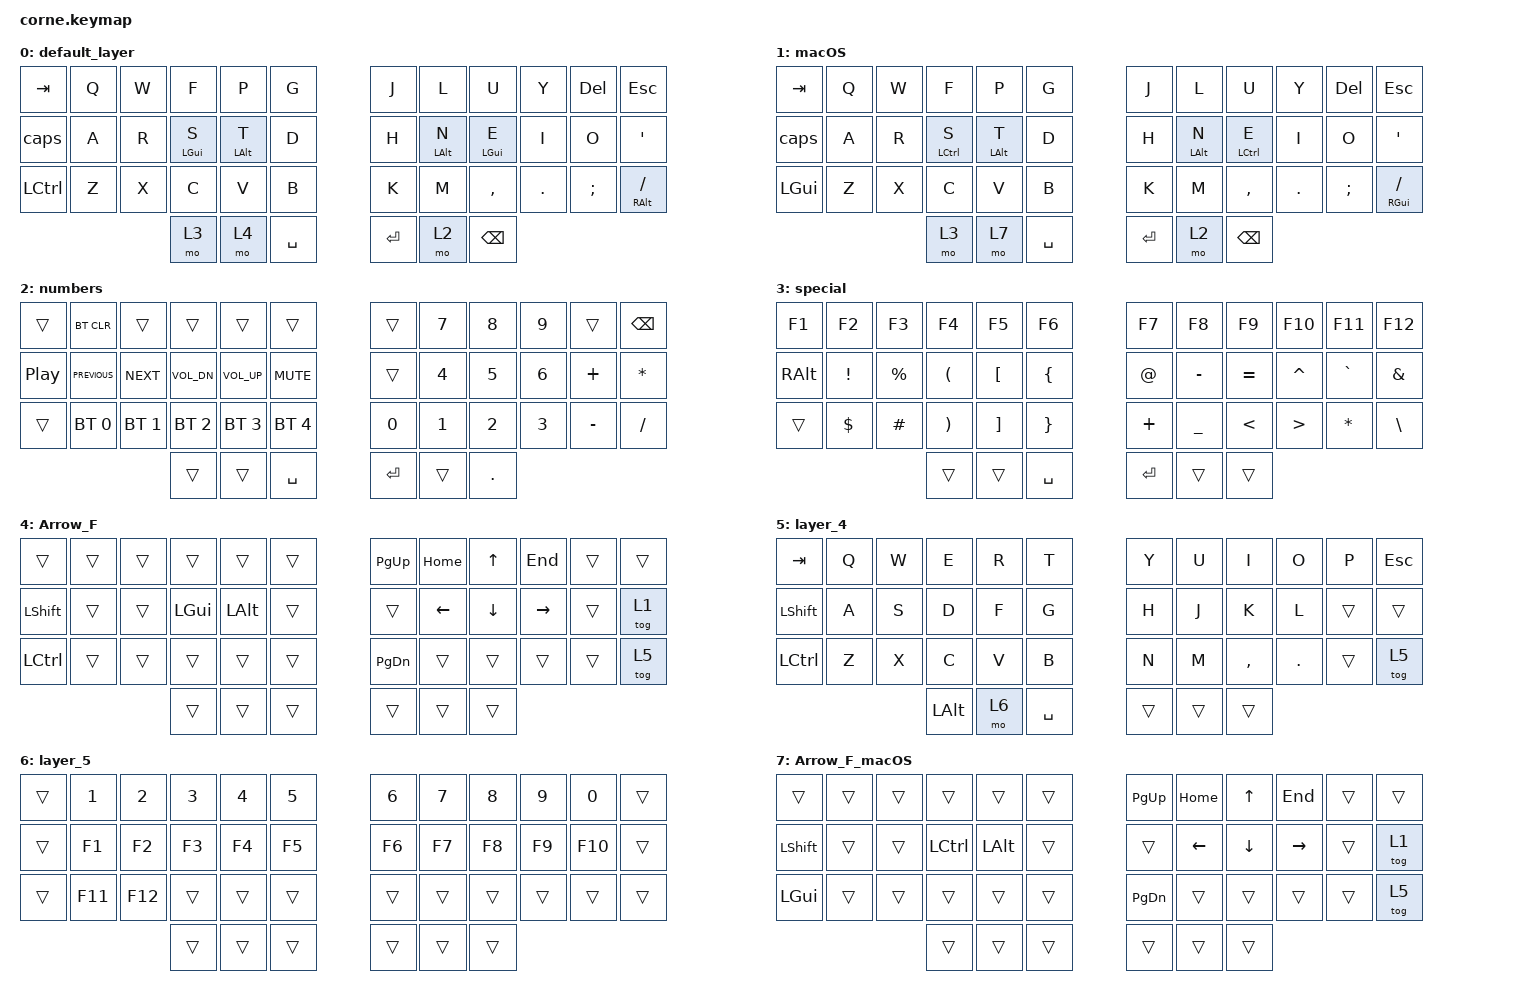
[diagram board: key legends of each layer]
/*
 * Copyright (c) 2020 The ZMK Contributors
 *
 * SPDX-License-Identifier: MIT
 */

#include <behaviors.dtsi>
#include <dt-bindings/zmk/bt.h>
#include <dt-bindings/zmk/keys.h>

&mt {
    require-prior-idle-ms = <150>;
    quick-tap-ms = <175>;
    flavor = "tap-preferred";
};

/ {
    behaviors {
        caps: caps {
            compatible = "zmk,behavior-tap-dance";
            label = "CAPS";
            #binding-cells = <0>;
            bindings = <&kp LEFT_SHIFT>, <&kp CAPS>;

            tapping-term-ms = <350>;
        };
    };

    keymap {
        compatible = "zmk,keymap";

        default_layer {
            // -----------------------------------------------------------------------------------------
            // |  TAB |  Q  |  W  |  E  |  R  |  T  |   |  Y  |  U   |  I  |  O  |  P  | BSPC |
            // | CTRL |  A  |  S  |  D  |  F  |  G  |   |  H  |  J   |  K  |  L  |  ;  |  '   |
            // | SHFT |  Z  |  X  |  C  |  V  |  B  |   |  N  |  M   |  ,  |  .  |  /  | ESC  |
            //                    | GUI | LWR | SPC |   | ENT | RSE  | ALT |

            bindings = <
&kp TAB    &kp Q  &kp W  &kp F           &kp P       &kp G        &kp J    &kp L           &kp U           &kp Y    &kp DEL   &kp ESCAPE
&caps      &kp A  &kp R  &mt LEFT_GUI S  &mt LALT T  &kp D        &kp H    &mt LEFT_ALT N  &mt LEFT_GUI E  &kp I    &kp O     &kp SQT
&kp LCTRL  &kp Z  &kp X  &kp C           &kp V       &kp B        &kp K    &kp M           &kp COMMA       &kp DOT  &kp SEMI  &mt RIGHT_ALT SLASH
                         &mo 3           &mo 4       &kp SPACE    &kp RET  &mo 2           &kp BSPC
            >;
        };

        macOS {
            bindings = <
&kp TAB       &kp Q  &kp W  &kp F               &kp P       &kp G        &kp J    &kp L           &kp U               &kp Y    &kp DEL   &kp ESCAPE
&caps         &kp A  &kp R  &mt LEFT_CONTROL S  &mt LALT T  &kp D        &kp H    &mt LEFT_ALT N  &mt LEFT_CONTROL E  &kp I    &kp O     &kp SQT
&kp LEFT_GUI  &kp Z  &kp X  &kp C               &kp V       &kp B        &kp K    &kp M           &kp COMMA           &kp DOT  &kp SEMI  &mt RIGHT_GUI SLASH
                            &mo 3               &mo 7       &kp SPACE    &kp RET  &mo 2           &kp BSPC
            >;
        };

        numbers {
            // -----------------------------------------------------------------------------------------
            // |  TAB |  1  |  2  |  3  |  4  |  5  |   |  6  |  7  |  8  |  9  |  0  | BSPC |
            // | BTCLR| BT1 | BT2 | BT3 | BT4 | BT5 |   | LFT | DWN |  UP | RGT |     |      |
            // | SHFT |     |     |     |     |     |   |     |     |     |     |     |      |
            //                    | GUI |     | SPC |   | ENT |     | ALT |

            bindings = <
&trans    &bt BT_CLR      &trans        &trans        &trans           &trans          &trans        &kp N7  &kp N8      &kp N9  &trans     &kp BSPC
&kp C_PP  &kp C_PREVIOUS  &kp C_NEXT    &kp C_VOL_DN  &kp C_VOLUME_UP  &kp C_MUTE      &trans        &kp N4  &kp N5      &kp N6  &kp PLUS   &kp ASTERISK
&trans    &bt BT_SEL 0    &bt BT_SEL 1  &bt BT_SEL 2  &bt BT_SEL 3     &bt BT_SEL 4    &kp NUMBER_0  &kp N1  &kp N2      &kp N3  &kp MINUS  &kp SLASH
                                        &trans        &trans           &kp SPACE       &kp RET       &trans  &kp PERIOD
            >;
        };

        special {
            // -----------------------------------------------------------------------------------------
            // |  TAB |  !  |  @  |  #  |  $  |  %  |   |  ^  |  &  |  *  |  (  |  )  | BSPC |
            // | CTRL |     |     |     |     |     |   |  -  |  =  |  [  |  ]  |  \  |  `   |
            // | SHFT |     |     |     |     |     |   |  _  |  +  |  {  |  }  | "|" |  ~   |
            //                    | GUI |     | SPC |   | ENT |     | ALT |

            bindings = <
&kp F1         &kp F2           &kp F3       &kp F4                 &kp F5             &kp F6             &kp F7    &kp F8          &kp F9         &kp F10           &kp F11       &kp F12
&kp RIGHT_ALT  &kp EXCLAMATION  &kp PERCENT  &kp LEFT_PARENTHESIS   &kp LEFT_BRACKET   &kp LEFT_BRACE     &kp AT    &kp MINUS       &kp EQUAL      &kp CARET         &kp GRAVE     &kp AMPERSAND
&trans         &kp DOLLAR       &kp POUND    &kp RIGHT_PARENTHESIS  &kp RIGHT_BRACKET  &kp RIGHT_BRACE    &kp PLUS  &kp UNDERSCORE  &kp LESS_THAN  &kp GREATER_THAN  &kp ASTERISK  &kp BACKSLASH
                                             &trans                 &trans             &kp SPACE          &kp RET   &trans          &trans
            >;
        };

        Arrow_F {
            bindings = <
&trans     &trans  &trans  &trans        &trans        &trans    &kp PG_UP  &kp HOME  &kp UP    &kp END    &trans  &trans
&kp LSHFT  &trans  &trans  &kp LEFT_GUI  &kp LEFT_ALT  &trans    &trans     &kp LEFT  &kp DOWN  &kp RIGHT  &trans  &tog 1
&kp LCTRL  &trans  &trans  &trans        &trans        &trans    &kp PG_DN  &trans    &trans    &trans     &trans  &tog 5
                           &trans        &trans        &trans    &trans     &trans    &trans
            >;
        };

        layer_4 {
            bindings = <
&kp TAB    &kp Q  &kp W  &kp E     &kp R  &kp T        &kp Y   &kp U   &kp I      &kp O    &kp P   &kp ESC
&kp LSHFT  &kp A  &kp S  &kp D     &kp F  &kp G        &kp H   &kp J   &kp K      &kp L    &trans  &trans
&kp LCTRL  &kp Z  &kp X  &kp C     &kp V  &kp B        &kp N   &kp M   &kp COMMA  &kp DOT  &trans  &tog 5
                         &kp LALT  &mo 6  &kp SPACE    &trans  &trans  &trans
            >;
        };

        layer_5 {
            bindings = <
&trans  &kp N1   &kp N2   &kp N3  &kp N4  &kp N5    &kp N6  &kp N7  &kp N8  &kp N9  &kp N0   &trans
&trans  &kp F1   &kp F2   &kp F3  &kp F4  &kp F5    &kp F6  &kp F7  &kp F8  &kp F9  &kp F10  &trans
&trans  &kp F11  &kp F12  &trans  &trans  &trans    &trans  &trans  &trans  &trans  &trans   &trans
                          &trans  &trans  &trans    &trans  &trans  &trans
            >;
        };

        Arrow_F_macOS {
            bindings = <
&trans        &trans  &trans  &trans            &trans        &trans    &kp PG_UP  &kp HOME  &kp UP    &kp END    &trans  &trans
&kp LSHFT     &trans  &trans  &kp LEFT_CONTROL  &kp LEFT_ALT  &trans    &trans     &kp LEFT  &kp DOWN  &kp RIGHT  &trans  &tog 1
&kp LEFT_GUI  &trans  &trans  &trans            &trans        &trans    &kp PG_DN  &trans    &trans    &trans     &trans  &tog 5
                              &trans            &trans        &trans    &trans     &trans    &trans
            >;
        };
    };
};
